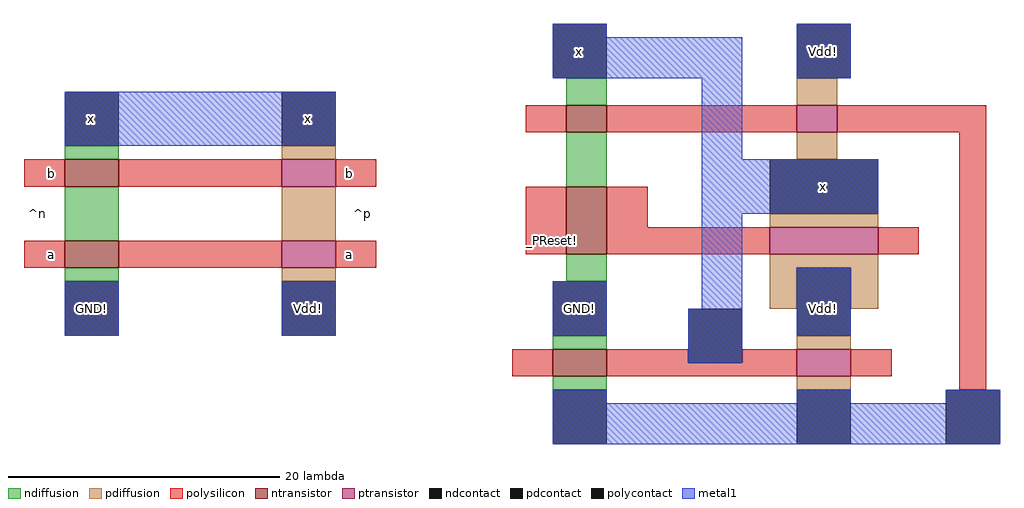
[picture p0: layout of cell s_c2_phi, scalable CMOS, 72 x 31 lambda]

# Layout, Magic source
magic
tech scmos
<< ndiffusion >>
rect 6 96 10 97
rect 43 100 46 102
rect 43 94 46 98
rect 6 90 10 94
rect 6 87 10 88
rect 43 87 46 89
rect 42 82 46 83
rect 42 79 46 80
<< pdiffusion >>
rect 60 100 63 102
rect 22 96 26 97
rect 60 96 63 98
rect 22 90 26 94
rect 58 91 66 92
rect 22 87 26 88
rect 58 88 66 89
rect 58 85 60 88
rect 64 85 66 88
rect 60 82 64 83
rect 60 79 64 80
<< ntransistor >>
rect 43 98 46 100
rect 6 94 10 96
rect 6 88 10 90
rect 43 89 46 94
rect 42 80 46 82
<< ptransistor >>
rect 60 98 63 100
rect 22 94 26 96
rect 22 88 26 90
rect 58 89 66 91
rect 60 80 64 82
<< polysilicon >>
rect 40 98 43 100
rect 46 98 60 100
rect 63 98 74 100
rect 3 94 6 96
rect 10 94 22 96
rect 26 94 29 96
rect 3 88 6 90
rect 10 88 22 90
rect 26 88 29 90
rect 40 89 43 94
rect 46 91 49 94
rect 46 89 58 91
rect 66 89 69 91
rect 39 80 42 82
rect 46 81 52 82
rect 56 81 60 82
rect 46 80 60 81
rect 64 80 67 82
rect 72 79 74 98
<< ndcontact >>
rect 42 102 46 106
rect 6 97 10 101
rect 6 83 10 87
rect 42 83 46 87
rect 42 75 46 79
<< pdcontact >>
rect 22 97 26 101
rect 60 102 64 106
rect 58 92 66 96
rect 22 83 26 87
rect 60 83 64 88
rect 60 75 64 79
<< polycontact >>
rect 52 81 56 85
rect 71 75 75 79
<< metal1 >>
rect 42 105 46 106
rect 42 102 56 105
rect 60 102 64 106
rect 6 97 26 101
rect 53 96 56 102
rect 53 92 66 96
rect 6 83 10 87
rect 22 83 26 87
rect 42 83 46 87
rect 53 85 56 92
rect 52 81 56 85
rect 60 83 64 88
rect 42 78 46 79
rect 60 78 64 79
rect 71 78 75 79
rect 42 75 75 78
<< labels >>
rlabel polysilicon 5 89 5 89 3 a
rlabel polysilicon 5 95 5 95 3 b
rlabel space 2 82 6 102 7 ^n
rlabel space 26 82 30 102 3 ^p
rlabel polysilicon 27 89 27 89 3 a
rlabel polysilicon 27 95 27 95 3 b
rlabel polysilicon 42 90 42 90 1 _PReset!
rlabel ndcontact 8 99 8 99 1 x
rlabel ndcontact 8 85 8 85 1 GND!
rlabel pdcontact 24 99 24 99 1 x
rlabel pdcontact 24 85 24 85 1 Vdd!
rlabel pdcontact 62 85 62 85 1 Vdd!
rlabel ndcontact 44 85 44 85 1 GND!
rlabel pdcontact 62 94 62 94 1 x
rlabel pdcontact 62 104 62 104 1 Vdd!
rlabel ndcontact 44 104 44 104 5 x
<< end >>
